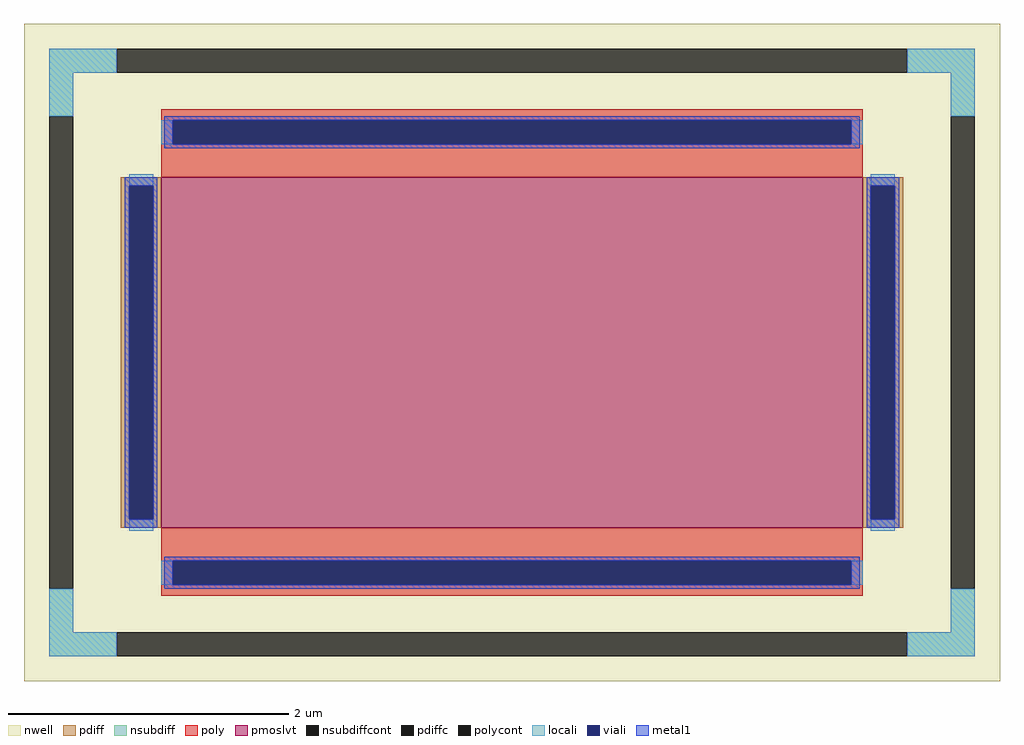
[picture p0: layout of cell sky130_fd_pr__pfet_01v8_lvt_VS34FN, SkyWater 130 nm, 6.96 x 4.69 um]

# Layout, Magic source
magic
tech sky130A
magscale 1 2
<< nwell >>
rect -696 -469 696 469
<< pmoslvt >>
rect -500 -250 500 250
<< pdiff >>
rect -558 238 -500 250
rect -558 -238 -546 238
rect -512 -238 -500 238
rect -558 -250 -500 -238
rect 500 238 558 250
rect 500 -238 512 238
rect 546 -238 558 238
rect 500 -250 558 -238
<< pdiffc >>
rect -546 -238 -512 238
rect 512 -238 546 238
<< nsubdiff >>
rect -660 399 -564 433
rect 564 399 660 433
rect -660 337 -626 399
rect 626 337 660 399
rect -660 -399 -626 -337
rect 626 -399 660 -337
rect -660 -433 -564 -399
rect 564 -433 660 -399
<< nsubdiffcont >>
rect -564 399 564 433
rect -660 -337 -626 337
rect 626 -337 660 337
rect -564 -433 564 -399
<< poly >>
rect -500 331 500 347
rect -500 297 -484 331
rect 484 297 500 331
rect -500 250 500 297
rect -500 -297 500 -250
rect -500 -331 -484 -297
rect 484 -331 500 -297
rect -500 -347 500 -331
<< polycont >>
rect -484 297 484 331
rect -484 -331 484 -297
<< locali >>
rect -660 399 -564 433
rect 564 399 660 433
rect -660 337 -626 399
rect 626 337 660 399
rect -500 297 -484 331
rect 484 297 500 331
rect -546 238 -512 254
rect -546 -254 -512 -238
rect 512 238 546 254
rect 512 -254 546 -238
rect -500 -331 -484 -297
rect 484 -331 500 -297
rect -660 -399 -626 -337
rect 626 -399 660 -337
rect -660 -433 -564 -399
rect 564 -433 660 -399
<< viali >>
rect -484 297 484 331
rect -546 -238 -512 238
rect 512 -238 546 238
rect -484 -331 484 -297
<< metal1 >>
rect -496 331 496 337
rect -496 297 -484 331
rect 484 297 496 331
rect -496 291 496 297
rect -552 238 -506 250
rect -552 -238 -546 238
rect -512 -238 -506 238
rect -552 -250 -506 -238
rect 506 238 552 250
rect 506 -238 512 238
rect 546 -238 552 238
rect 506 -250 552 -238
rect -496 -297 496 -291
rect -496 -331 -484 -297
rect 484 -331 496 -297
rect -496 -337 496 -331
<< properties >>
string FIXED_BBOX -643 -416 643 416
string gencell sky130_fd_pr__pfet_01v8_lvt
string library sky130
string parameters w 2.5 l 5.0 m 1 nf 1 diffcov 100 polycov 100 guard 1 glc 1 grc 1 gtc 1 gbc 1 tbcov 100 rlcov 100 topc 1 botc 1 poverlap 0 doverlap 1 lmin 0.35 wmin 0.42 class mosfet compatible {sky130_fd_pr__pfet_01v8  sky130_fd_pr__pfet_01v8_lvt sky130_fd_pr__pfet_01v8_hvt  sky130_fd_pr__pfet_g5v0d10v5} full_metal 1 viasrc 100 viadrn 100 viagate 100 viagb 0 viagr 0 viagl 0 viagt 0 ad {int((nf+1)/2) * W/nf * 0.29} as {int((nf+2)/2) * W/nf * 0.29} pd {2*int((nf+1)/2) * (W/nf + 0.29)} ps {2*int((nf+2)/2) * (W/nf + 0.29)} nrd {0.29 / W} nrs {0.29 / W} sa 0 sb 0 sd 0 mult 1
<< end >>
